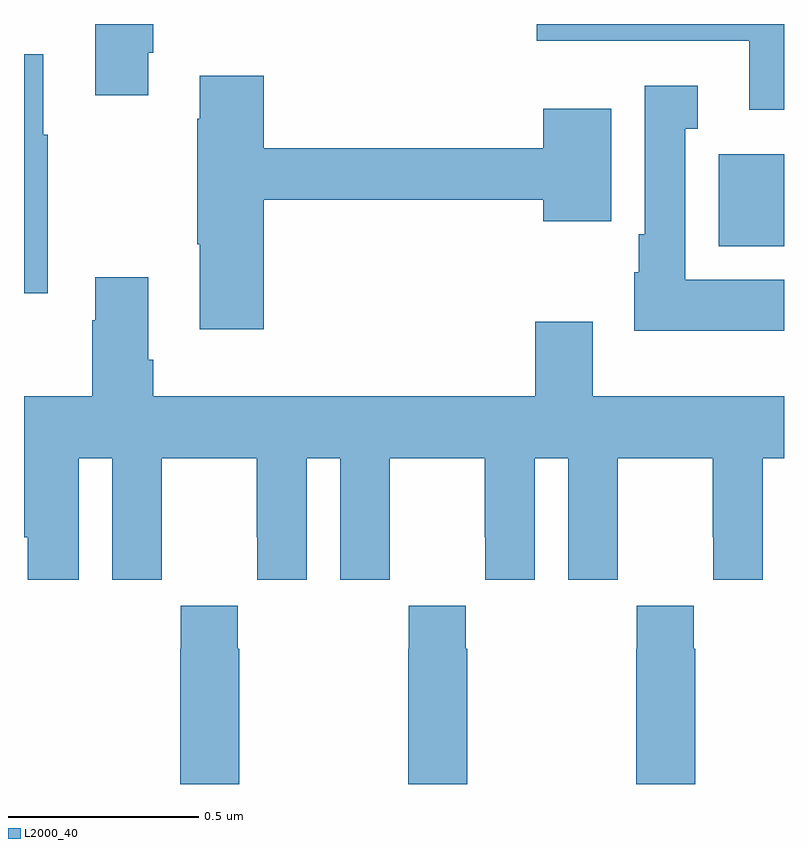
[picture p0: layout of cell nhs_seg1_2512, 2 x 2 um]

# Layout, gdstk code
import gdstk
lib = gdstk.Library(unit=1e-6, precision=1e-09)
def R(c, l, rs):  # rectangles x0, y0, x1, y1
    for r in rs: c.add(gdstk.rectangle(r[:2], r[2:], *l))
def P(c, l, *ps):  # polygons
    for p in ps: c.add(gdstk.Polygon(p, *l))
L2000_40 = (2000, 40)

nhs_seg1_2512 = lib.new_cell('nhs_seg1_2512')
R(nhs_seg1_2512, L2000_40, [(143.828,561.614,144,561.856)])
P(nhs_seg1_2512, L2000_40, [(144,562.199),(143.349,562.199),(143.349,562.155),(143.909,562.155),(143.909,561.974),(144,561.974)],
  [(142.327,562.123),(142.34,562.123),(142.34,562.199),(142.187,562.199),(142.187,562.011),(142.327,562.011)],
  [(142.063,561.907),(142.051,561.907),(142.051,562.12),(142,562.12),(142,561.491),(142.063,561.491)],
  [(142.631,561.736),(143.366,561.736),(143.366,561.68),(143.545,561.68),(143.545,561.976),(143.366,561.976),(143.366,561.872),(142.631,561.872),(142.631,562.063),(142.463,562.063),(142.463,561.95),(142.456,561.95),(142.456,561.619),(142.463,561.619),(142.463,561.396),(142.631,561.396)],
  [(144,561.526),(143.74,561.526),(143.74,561.923),(143.773,561.923),(143.773,562.036),(143.633,562.036),(143.633,561.646),(143.618,561.646),(143.618,561.546),(143.606,561.546),(143.606,561.392),(144,561.392)],
  [(142.34,561.316),(142.327,561.316),(142.327,561.532),(142.187,561.532),(142.187,561.419),(142.18,561.419),(142.18,561.22),(142,561.22),(142,561.056),(142.001,561.056),(142.001,560.848),(142.01,560.848),(142.01,560.736),(142.144,560.736),(142.144,561.056),(142.232,561.056),(142.232,560.736),(142.362,560.736),(142.362,560.848),(142.363,560.848),(142.363,561.056),(142.613,561.056),(142.613,560.848),(142.614,560.848),(142.614,560.736),(142.744,560.736),(142.744,561.056),(142.832,561.056),(142.832,560.736),(142.962,560.736),(142.962,560.848),(142.963,560.848),(142.963,561.056),(143.213,561.056),(143.213,560.848),(143.214,560.848),(143.214,560.736),(143.344,560.736),(143.344,561.056),(143.432,561.056),(143.432,560.736),(143.562,560.736),(143.562,560.848),(143.563,560.848),(143.563,561.056),(143.813,561.056),(143.813,560.848),(143.814,560.848),(143.814,560.736),(143.944,560.736),(143.944,561.056),(144,561.056),(144,561.22),(143.497,561.22),(143.497,561.415),(143.345,561.415),(143.345,561.22),(142.34,561.22)],
  [(143.166,560.555),(143.163,560.555),(143.163,560.668),(143.013,560.668),(143.013,560.555),(143.011,560.555),(143.011,560.199),(143.166,560.199)],
  [(143.766,560.555),(143.763,560.555),(143.763,560.668),(143.613,560.668),(143.613,560.555),(143.611,560.555),(143.611,560.199),(143.766,560.199)],
  [(142.566,560.555),(142.563,560.555),(142.563,560.668),(142.413,560.668),(142.413,560.555),(142.411,560.555),(142.411,560.199),(142.566,560.199)])

lib.write_gds('nhs_seg1_2512.gds')
